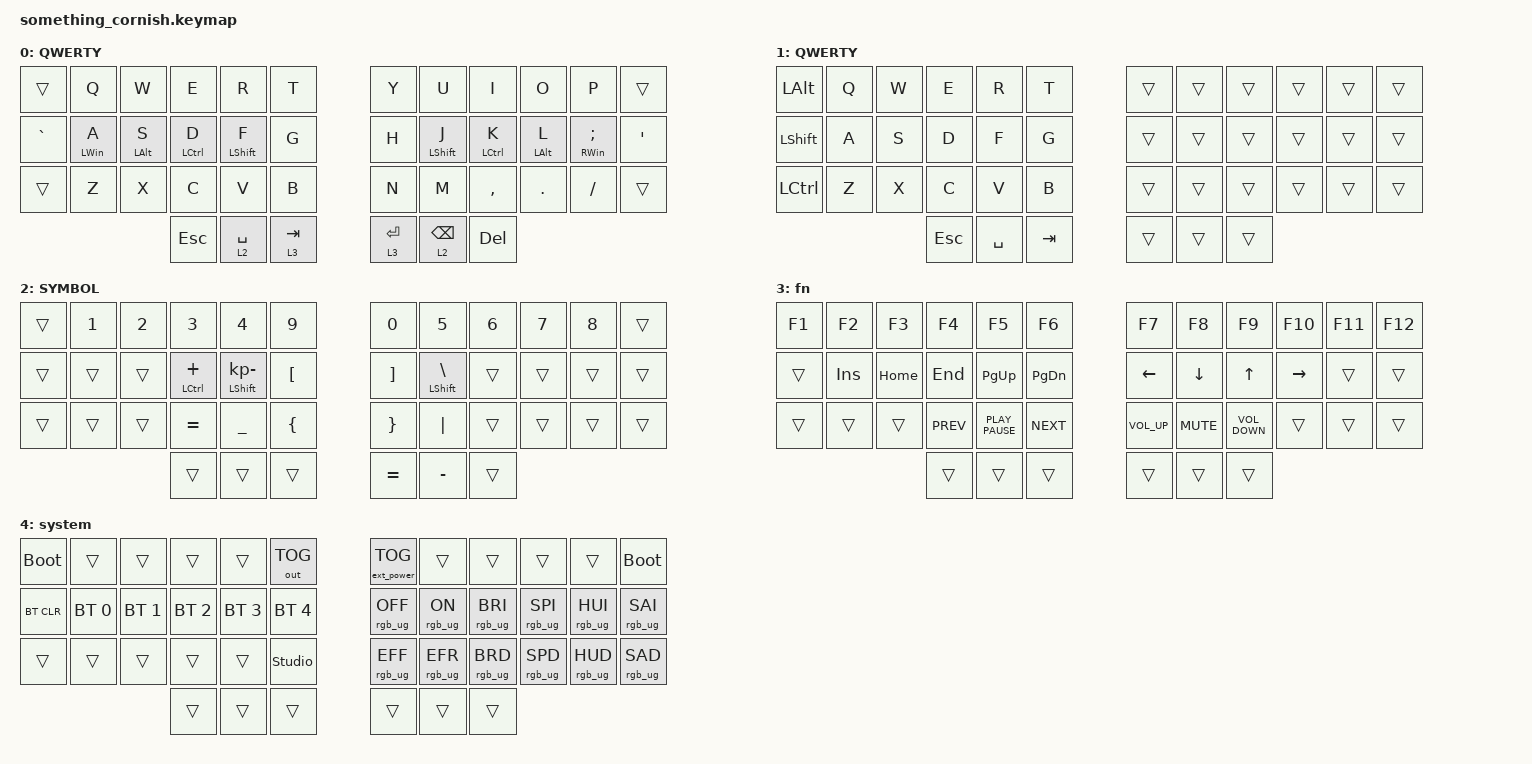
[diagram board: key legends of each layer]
#include <behaviors.dtsi>
#include <dt-bindings/zmk/bt.h>
#include <dt-bindings/zmk/ext_power.h>
#include <dt-bindings/zmk/keys.h>
#include <dt-bindings/zmk/outputs.h>
#include <dt-bindings/zmk/rgb.h>

&mt {
    tapping-term-ms = <280>;
    require-prior-idle-ms = <150>;
    flavor = "balanced";
};

&lt {
    flavor = "tap-preferred";
    tapping-term-ms = <280>;
    require-prior-idle-ms = <150>;
};

/ {
    chosen {
        zmk,matrix_transform = &default_transform;
        zmk,physical-layout = &default_layout;
    };
};

/ {
    behaviors {
        td0: td0 {
            compatible = "zmk,behavior-tap-dance";
            label = "TD0";
            #binding-cells = <0>;
            bindings = <&kp LEFT_SHIFT>, <&kp CAPS>;
        };
    };

    combos {
        compatible = "zmk,combos";

        capslock {
            bindings = <&kp CLCK>;
            key-positions = <16 19>;
            layers = <0>;
        };

        gotosys {
            bindings = <&mo 4>;
            key-positions = <36 41>;
            slow-release;
        };

        gaming-mode {
            bindings = <&tog 1>;
            key-positions = <0 11>;
        };
    };

    keymap {
        compatible = "zmk,keymap";

        home {
            display-name = "QWERTY";

            // --------------------------------------------------------------------------------
            // |      |  Q  |  W  |  E  |  R  |  T  |   |  Y  |  U   |  I  |  O  |  P  |      |
            // |      |  A  |  S  |  D  |  F  |  G  |   |  H  |  J   |  K  |  L  |  ;  |  '   | 
            // |      |  Z  |  X  |  C  |  V  |  B  |   |  N  |  M   |  ,  |  .  |  /  |      |
            //                    | TAB | BCK | SPC |   | ENT | ESC  | DEL |

            bindings = <
&trans     &kp Q           &kp W           &kp E        &kp R        &kp T        &kp Y        &kp U            &kp I        &kp O           &kp P          &trans
&kp GRAVE  &mt LEFT_WIN A  &mt LEFT_ALT S  &mt LCTRL D  &mt LSHFT F  &kp G        &kp H        &mt LSHFT J      &mt LCTRL K  &mt LEFT_ALT L  &mt RWIN SEMI  &kp SQT
&trans     &kp Z           &kp X           &kp C        &kp V        &kp B        &kp N        &kp M            &kp COMMA    &kp DOT         &kp FSLH       &trans
                                           &kp ESC      &lt 2 SPACE  &lt 3 TAB    &lt 3 ENTER  &lt 2 BACKSPACE  &kp DEL
            >;
        };

        gaming {
            display-name = "QWERTY";
            bindings = <
&kp LALT   &kp Q  &kp W  &kp E       &kp R      &kp T      &trans  &trans  &trans  &trans  &trans  &trans
&kp LSHFT  &kp A  &kp S  &kp D       &kp F      &kp G      &trans  &trans  &trans  &trans  &trans  &trans
&kp LCTRL  &kp Z  &kp X  &kp C       &kp V      &kp B      &trans  &trans  &trans  &trans  &trans  &trans
                         &kp ESCAPE  &kp SPACE  &kp TAB    &trans  &trans  &trans
            >;
        };

        symbol {
            display-name = "SYMBOL";

            // -----------------------------------------------------------------------------------------
            // |   |   |   |   |   | ` | ! | ( | ) | $ |   |   |
            // |   |   |   |   |   | \ | @ | [ | ] | % |   |   |
            // |   |   |   |   |   | * | # | { | } | ^ |   |   |
            //         |   |   |   | = | - |   |

            bindings = <
&trans  &kp NUMBER_1  &kp NUMBER_2  &kp NUMBER_3    &kp NUMBER_4           &kp N9              &kp N0             &kp N5               &kp NUMBER_6  &kp N7  &kp N8  &trans
&trans  &trans        &trans        &mt LCTRL PLUS  &mt LSHFT KP_SUBTRACT  &kp LEFT_BRACKET    &kp RIGHT_BRACKET  &mt LSHFT BACKSLASH  &trans        &trans  &trans  &trans
&trans  &trans        &trans        &kp EQUAL       &kp UNDER              &kp LEFT_BRACE      &kp RIGHT_BRACE    &kp PIPE             &trans        &trans  &trans  &trans
                                    &trans          &trans                 &trans              &kp EQUAL          &kp MINUS            &trans
            >;
        };

        fn {
            display-name = "fn";

            // -----------------------------------------------------------------------------------------
            // |   | F1 | F2  | F3  | F4  |   |   |   |   |   |   |   |
            // |   | F5 | F6  | F7  | F8  |   |   |   |   |   |   |   |
            // |   | F9 | F10 | F11 | F12 |   |   |   |   |   |   |   |
            //                |     |     |   |   |   |   |

            bindings = <
&kp F1  &kp F2   &kp F3    &kp F4      &kp F5            &kp F6           &kp F7           &kp F8          &kp F9             &kp F10    &kp F11  &kp F12
&trans  &kp INS  &kp HOME  &kp END     &kp PAGE_UP       &kp PAGE_DOWN    &kp LEFT         &kp DOWN_ARROW  &kp UP_ARROW       &kp RIGHT  &trans   &trans
&trans  &trans   &trans    &kp K_PREV  &kp K_PLAY_PAUSE  &kp K_NEXT       &kp K_VOLUME_UP  &kp K_MUTE      &kp K_VOLUME_DOWN  &trans     &trans   &trans
                           &trans      &trans            &trans           &trans           &trans          &trans
            >;
        };

        system {
            display-name = "system";
            bindings = <
&bootloader  &trans        &trans        &trans        &trans        &out OUT_TOG    &ext_power EP_TOG  &trans           &trans           &trans           &trans           &bootloader
&bt BT_CLR   &bt BT_SEL 0  &bt BT_SEL 1  &bt BT_SEL 2  &bt BT_SEL 3  &bt BT_SEL 4    &rgb_ug RGB_OFF    &rgb_ug RGB_ON   &rgb_ug RGB_BRI  &rgb_ug RGB_SPI  &rgb_ug RGB_HUI  &rgb_ug RGB_SAI
&trans       &trans        &trans        &trans        &trans        &studio_unlock  &rgb_ug RGB_EFF    &rgb_ug RGB_EFR  &rgb_ug RGB_BRD  &rgb_ug RGB_SPD  &rgb_ug RGB_HUD  &rgb_ug RGB_SAD
                                         &trans        &trans        &trans          &trans             &trans           &trans
            >;
        };
    };
};
